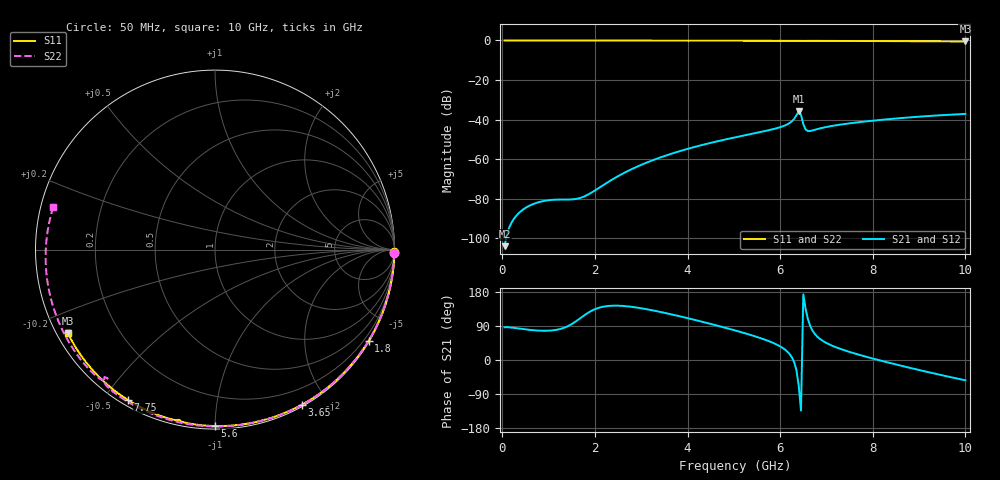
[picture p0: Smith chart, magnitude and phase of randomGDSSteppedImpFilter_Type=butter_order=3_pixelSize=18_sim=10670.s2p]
! freq	dB(S11)	phase(S11)	dB(S12)	phase(S12)
!  dB(S21)	phase(S21)	dB(S22)	phase(S22)
!S-par simulation data
#  GHz  S  DB  R 50
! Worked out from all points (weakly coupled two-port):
!   200 points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, 50 MHz to 10 GHz, reference 50 ohm
!   highest |S21| = -35.86 dB at 6.4 GHz (marker M1); lowest = -103.9 dB at 50 MHz (marker M2)
!   lowest |S11| = -0.5 dB at 10 GHz (marker M3), VSWR 33.96, Z = 1.57 - j13.2 ohm
!   |S11| at or under -10 dB: nowhere
!   |S22| runs from -0.6 to 0.0 dB; largest |S21 - S12| = 0
!   S11 on the Smith chart (normalised r, x): 50 MHz: open; 1.8 GHz: 0.03, -3.64; 3.65 GHz: 0.02, -1.71; 5.6 GHz: 0.02, -1.00; 7.75 GHz: 0.02, -0.58; 10 GHz: 0.03, -0.26
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0.05  -0.00 -0.8  -103.92 86.4  -103.92 86.4  -0.00 -1.1
0.85  -0.02 -14.6  -81.31 77.2  -81.31 77.2  -0.02 -19.3
1.6  -0.03 -27.4  -80.02 102.8  -80.02 102.8  -0.05 -35.9
1.75  -0.04 -29.9  -78.99 116.2  -78.99 116.2  -0.05 -39.2
1.8  -0.04 -30.7  -78.47 120.5  -78.47 120.5  -0.05 -40.3
2.65  -0.06 -44.8  -66.67 142.2  -66.67 142.2  -0.07 -58.4
3.4  -0.08 -56.8  -59.21 127.2  -59.21 127.2  -0.10 -73.8
3.65  -0.08 -60.7  -57.24 120.5  -57.24 120.5  -0.10 -78.7
5.05  -0.13 -82.0  -48.84 77.2  -48.84 77.2  -0.16 -105.5
5.6  -0.15 -90.1  -46.14 56.7  -46.14 56.7  -0.19 -115.6
6.15  -0.18 -98.0  -42.44 22.7  -42.44 22.7  -0.23 -125.7
6.3  -0.19 -100.2  -39.66 -4.9  -39.66 -4.9  -0.28 -128.9
6.4  -0.26 -101.7  -35.86 -67.0  -35.86 -67.0  -0.55 -130.9
6.45  -0.27 -101.9  -37.55 -133.4  -37.55 -133.4  -0.59 -129.8
6.5  -0.23 -102.5  -42.24 173.2  -42.24 173.2  -0.41 -130.3
6.55  -0.22 -103.3  -44.98 134.5  -44.98 134.5  -0.33 -131.4
6.6  -0.21 -104.0  -45.78 107.4  -45.78 107.4  -0.30 -132.4
6.7  -0.21 -105.5  -45.46 77.3  -45.46 77.3  -0.29 -134.4
7.75  -0.28 -120.0  -41.15 12.2  -41.15 12.2  -0.35 -153.2
8.35  -0.33 -128.1  -39.73 -7.2  -39.73 -7.2  -0.41 -163.9
9.2  -0.42 -139.5  -38.18 -32.1  -38.18 -32.1  -0.51 -179.4
10  -0.51 -150.4  -37.11 -53.6  -37.11 -53.6  -0.61 165.3
